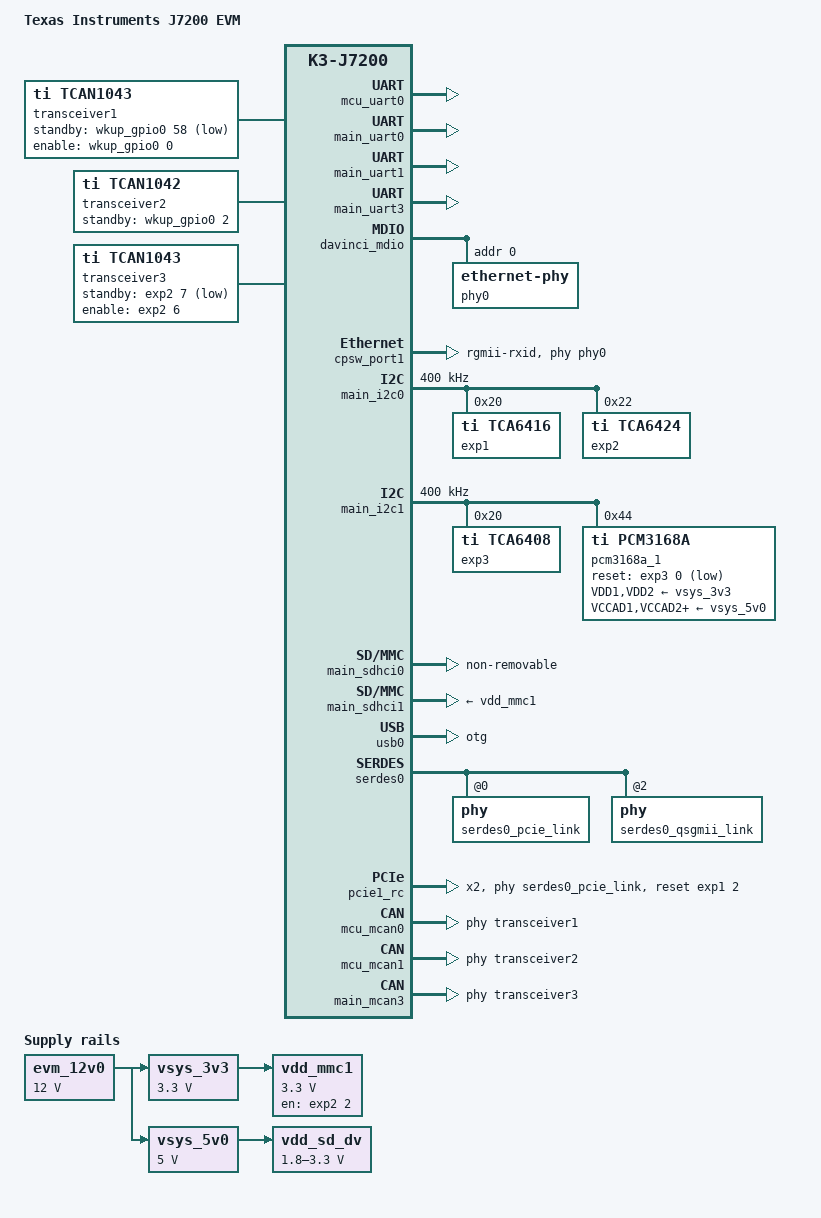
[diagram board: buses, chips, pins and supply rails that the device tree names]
// SPDX-License-Identifier: GPL-2.0-only OR MIT
/*
 * Copyright (C) 2020-2024 Texas Instruments Incorporated - https://www.ti.com/
 */

/dts-v1/;

#include "k3-j7200-som-p0.dtsi"
#include <dt-bindings/gpio/gpio.h>
#include <dt-bindings/net/ti-dp83867.h>
#include <dt-bindings/phy/phy.h>

#include "k3-serdes.h"

/ {
	compatible = "ti,j7200-evm", "ti,j7200";
	model = "Texas Instruments J7200 EVM";

	aliases {
		serial0 = &wkup_uart0;
		serial1 = &mcu_uart0;
		serial2 = &main_uart0;
		serial3 = &main_uart1;
		serial5 = &main_uart3;
		mmc0 = &main_sdhci0;
		mmc1 = &main_sdhci1;
	};

	chosen {
		stdout-path = "serial2:115200n8";
	};

	evm_12v0: fixedregulator-evm12v0 {
		/* main supply */
		compatible = "regulator-fixed";
		regulator-name = "evm_12v0";
		regulator-min-microvolt = <12000000>;
		regulator-max-microvolt = <12000000>;
		regulator-always-on;
		regulator-boot-on;
	};

	vsys_3v3: fixedregulator-vsys3v3 {
		/* Output of LM5140 */
		compatible = "regulator-fixed";
		regulator-name = "vsys_3v3";
		regulator-min-microvolt = <3300000>;
		regulator-max-microvolt = <3300000>;
		vin-supply = <&evm_12v0>;
		regulator-always-on;
		regulator-boot-on;
	};

	vsys_5v0: fixedregulator-vsys5v0 {
		/* Output of LM5140 */
		compatible = "regulator-fixed";
		regulator-name = "vsys_5v0";
		regulator-min-microvolt = <5000000>;
		regulator-max-microvolt = <5000000>;
		vin-supply = <&evm_12v0>;
		regulator-always-on;
		regulator-boot-on;
	};

	vdd_mmc1: fixedregulator-sd {
		/* Output of TPS22918 */
		compatible = "regulator-fixed";
		regulator-name = "vdd_mmc1";
		regulator-min-microvolt = <3300000>;
		regulator-max-microvolt = <3300000>;
		regulator-boot-on;
		enable-active-high;
		vin-supply = <&vsys_3v3>;
		gpio = <&exp2 2 GPIO_ACTIVE_HIGH>;
	};

	vdd_sd_dv: gpio-regulator-TLV71033 {
		/* Output of TLV71033 */
		compatible = "regulator-gpio";
		regulator-name = "tlv71033";
		pinctrl-names = "default";
		pinctrl-0 = <&vdd_sd_dv_pins_default>;
		regulator-min-microvolt = <1800000>;
		regulator-max-microvolt = <3300000>;
		regulator-boot-on;
		vin-supply = <&vsys_5v0>;
		gpios = <&main_gpio0 55 GPIO_ACTIVE_HIGH>;
		states = <1800000 0x0>,
			 <3300000 0x1>;
	};

	transceiver1: can-phy1 {
		compatible = "ti,tcan1043";
		#phy-cells = <0>;
		max-bitrate = <5000000>;
		pinctrl-names = "default";
		pinctrl-0 = <&mcu_mcan0_gpio_pins_default>;
		standby-gpios = <&wkup_gpio0 58 GPIO_ACTIVE_LOW>;
		enable-gpios = <&wkup_gpio0 0 GPIO_ACTIVE_HIGH>;
	};

	transceiver2: can-phy2 {
		compatible = "ti,tcan1042";
		#phy-cells = <0>;
		max-bitrate = <5000000>;
		pinctrl-names = "default";
		pinctrl-0 = <&mcu_mcan1_gpio_pins_default>;
		standby-gpios = <&wkup_gpio0 2 GPIO_ACTIVE_HIGH>;
	};

	transceiver3: can-phy3 {
		compatible = "ti,tcan1043";
		#phy-cells = <0>;
		max-bitrate = <5000000>;
		standby-gpios = <&exp2 7 GPIO_ACTIVE_LOW>;
		enable-gpios = <&exp2 6 GPIO_ACTIVE_HIGH>;
		mux-states = <&mux0 1>;
	};

	sound0: sound@0 {
		compatible = "ti,j7200-cpb-audio";
		model = "j7200-cpb";

		ti,cpb-mcasp = <&mcasp0>;
		ti,cpb-codec = <&pcm3168a_1>;

		clocks = <&k3_clks 174 40>, <&k3_clks 174 41>,
			 <&k3_clks 157 77>, <&k3_clks 157 106>;
		clock-names = "cpb-mcasp-auxclk", "cpb-mcasp-auxclk-48000",
			      "cpb-codec-scki", "cpb-codec-scki-48000";
	};
};

&wkup_pmx0 {
};

&wkup_pmx2 {
	mcu_uart0_pins_default: mcu-uart0-default-pins {
		pinctrl-single,pins = <
			J721E_WKUP_IOPAD(0x90, PIN_INPUT, 0) /* (E20) MCU_UART0_CTSn */
			J721E_WKUP_IOPAD(0x94, PIN_OUTPUT, 0) /* (E21) MCU_UART0_RTSn */
			J721E_WKUP_IOPAD(0x8c, PIN_INPUT, 0) /* (D20) MCU_UART0_RXD */
			J721E_WKUP_IOPAD(0x88, PIN_OUTPUT, 0) /* (D19) MCU_UART0_TXD */
		>;
	};

	wkup_uart0_pins_default: wkup-uart0-default-pins {
		pinctrl-single,pins = <
			J721E_WKUP_IOPAD(0x48, PIN_INPUT, 0) /* (B14) WKUP_UART0_RXD */
			J721E_WKUP_IOPAD(0x4c, PIN_OUTPUT, 0) /* (A14) WKUP_UART0_TXD */
		>;
	};

	mcu_cpsw_pins_default: mcu-cpsw-default-pins {
		pinctrl-single,pins = <
			J721E_WKUP_IOPAD(0x0000, PIN_OUTPUT, 0) /* MCU_RGMII1_TX_CTL */
			J721E_WKUP_IOPAD(0x0004, PIN_INPUT, 0) /* MCU_RGMII1_RX_CTL */
			J721E_WKUP_IOPAD(0x0008, PIN_OUTPUT, 0) /* MCU_RGMII1_TD3 */
			J721E_WKUP_IOPAD(0x000c, PIN_OUTPUT, 0) /* MCU_RGMII1_TD2 */
			J721E_WKUP_IOPAD(0x0010, PIN_OUTPUT, 0) /* MCU_RGMII1_TD1 */
			J721E_WKUP_IOPAD(0x0014, PIN_OUTPUT, 0) /* MCU_RGMII1_TD0 */
			J721E_WKUP_IOPAD(0x0020, PIN_INPUT, 0) /* MCU_RGMII1_RD3 */
			J721E_WKUP_IOPAD(0x0024, PIN_INPUT, 0) /* MCU_RGMII1_RD2 */
			J721E_WKUP_IOPAD(0x0028, PIN_INPUT, 0) /* MCU_RGMII1_RD1 */
			J721E_WKUP_IOPAD(0x002c, PIN_INPUT, 0) /* MCU_RGMII1_RD0 */
			J721E_WKUP_IOPAD(0x0018, PIN_OUTPUT, 0) /* MCU_RGMII1_TXC */
			J721E_WKUP_IOPAD(0x001c, PIN_INPUT, 0) /* MCU_RGMII1_RXC */
		>;
	};

	wkup_gpio_pins_default: wkup-gpio-default-pins {
		pinctrl-single,pins = <
			J721E_WKUP_IOPAD(0x70, PIN_INPUT, 7) /* (C14) WKUP_GPIO0_6 */
		>;
	};

	mcu_mdio_pins_default: mcu-mdio1-default-pins {
		pinctrl-single,pins = <
			J721E_WKUP_IOPAD(0x0034, PIN_OUTPUT, 0) /* (L1) MCU_MDIO0_MDC */
			J721E_WKUP_IOPAD(0x0030, PIN_INPUT, 0) /* (L4) MCU_MDIO0_MDIO */
		>;
	};

	mcu_mcan0_pins_default: mcu-mcan0-default-pins {
		pinctrl-single,pins = <
			J721E_WKUP_IOPAD(0x54, PIN_INPUT, 0) /* (A17) MCU_MCAN0_RX */
			J721E_WKUP_IOPAD(0x50, PIN_OUTPUT, 0) /* (A16) MCU_MCAN0_TX */
		>;
	};

	mcu_mcan1_pins_default: mcu-mcan1-default-pins {
		pinctrl-single,pins = <
			J721E_WKUP_IOPAD(0x6c, PIN_INPUT, 0) /* (B16) WKUP_GPIO0_5.MCU_MCAN1_RX */
			J721E_WKUP_IOPAD(0x68, PIN_OUTPUT, 0) /* (D13) WKUP_GPIO0_4.MCU_MCAN1_TX */
		>;
	};

	mcu_mcan0_gpio_pins_default: mcu-mcan0-gpio-default-pins {
		pinctrl-single,pins = <
			J721E_WKUP_IOPAD(0x58, PIN_INPUT, 7) /* (B18) WKUP_GPIO0_0 */
			J721E_WKUP_IOPAD(0x40, PIN_INPUT, 7) /* (B17) MCU_SPI0_D1 */
		>;
	};

	mcu_mcan1_gpio_pins_default: mcu-mcan1-gpio-default-pins {
		pinctrl-single,pins = <
			J721E_WKUP_IOPAD(0x60, PIN_INPUT, 7) /* (D14) WKUP_GPIO0_2 */
		>;
	};
};

&main_pmx0 {
	main_uart0_pins_default: main-uart0-default-pins {
		pinctrl-single,pins = <
			J721E_IOPAD(0xb0, PIN_INPUT, 0) /* (T16) UART0_RXD */
			J721E_IOPAD(0xb4, PIN_OUTPUT, 0) /* (T17) UART0_TXD */
			J721E_IOPAD(0xc0, PIN_INPUT, 2) /* (W3) SPI0_CS0.UART0_CTSn */
			J721E_IOPAD(0xc4, PIN_OUTPUT, 2) /* (U5) SPI0_CS1.UART0_RTSn */
		>;
	};

	main_uart1_pins_default: main-uart1-default-pins {
		pinctrl-single,pins = <
			J721E_IOPAD(0xb8, PIN_INPUT, 0) /* (T18) UART1_RXD */
			J721E_IOPAD(0xbc, PIN_INPUT, 0) /* (T20) UART1_TXD */
		>;
	};

	main_uart3_pins_default: main-uart3-default-pins {
		pinctrl-single,pins = <
			J721E_IOPAD(0x60, PIN_INPUT, 11) /* (T15) MCAN8_TX.UART3_CTSn */
			J721E_IOPAD(0x30, PIN_INPUT, 11) /* (Y18) MCAN2_TX.UART3_RXD */
		>;
	};

	main_i2c1_pins_default: main-i2c1-default-pins {
		pinctrl-single,pins = <
			J721E_IOPAD(0xdc, PIN_INPUT_PULLUP, 3) /* (U3) ECAP0_IN_APWM_OUT.I2C1_SCL */
			J721E_IOPAD(0xe0, PIN_INPUT_PULLUP, 3) /* (T3) EXT_REFCLK1.I2C1_SDA */
		>;
	};

	main_mmc1_pins_default: main-mmc1-default-pins {
		pinctrl-single,pins = <
			J721E_IOPAD(0x104, PIN_INPUT, 0) /* (M20) MMC1_CMD */
			J721E_IOPAD(0x100, PIN_INPUT, 0) /* (P21) MMC1_CLK */
			J721E_IOPAD(0xfc, PIN_INPUT, 0) /* (P25) MMC1_CLKLB */
			J721E_IOPAD(0xf8, PIN_INPUT, 0) /* (M19) MMC1_DAT0 */
			J721E_IOPAD(0xf4, PIN_INPUT, 0) /* (N21) MMC1_DAT1 */
			J721E_IOPAD(0xf0, PIN_INPUT, 0) /* (N20) MMC1_DAT2 */
			J721E_IOPAD(0xec, PIN_INPUT, 0) /* (N19) MMC1_DAT3 */
			J721E_IOPAD(0xe4, PIN_INPUT, 8) /* (V1) TIMER_IO0.MMC1_SDCD */
		>;
	};

	vdd_sd_dv_pins_default: vdd-sd-dv-default-pins {
		pinctrl-single,pins = <
			J721E_IOPAD(0xd0, PIN_OUTPUT, 7) /* (T5) SPI0_D1.GPIO0_55 */
		>;
	};

	main_mcan3_pins_default: main-mcan3-default-pins {
		pinctrl-single,pins = <
			J721E_IOPAD(0x3c, PIN_INPUT, 0) /* (W16) MCAN3_RX */
			J721E_IOPAD(0x38, PIN_OUTPUT, 0) /* (Y21) MCAN3_TX */
		>;
	};

	mcasp0_pins_default: mcasp10-pins-default {
		pinctrl-single,pins = <
			J721E_IOPAD(0x40, PIN_OUTPUT_PULLDOWN, 12) /* (W15) MCAN4_TX.MCASP0_ACLKX */
			J721E_IOPAD(0x14, PIN_OUTPUT_PULLDOWN, 12) /* (Y16) RMII1_TXD0.MCASP0_AFSX */
			J721E_IOPAD(0x3c, PIN_OUTPUT_PULLDOWN, 12) /* (W16) MCAN3_RX.MCASP0_AXR0 */
			J721E_IOPAD(0x38, PIN_OUTPUT_PULLDOWN, 12) /* (Y21) MCAN3_TX.MCASP0_AXR1 */
			J721E_IOPAD(0x44, PIN_OUTPUT_PULLDOWN, 12) /* (Y20) MCAN4_RX.MCASP0_AXR2 */
			J721E_IOPAD(0x1c, PIN_OUTPUT_PULLDOWN, 12) /* (AA19) RMII1_TXD1.MCASP0_AXR3 */
			J721E_IOPAD(0x64, PIN_INPUT_PULLDOWN, 12) /* (U19) MCAN8_RX.MCASP0_AXR4 */
			J721E_IOPAD(0x60, PIN_INPUT_PULLDOWN, 12) /* (T15) MCAN8_TX.MCASP0_AXR5 */
			J721E_IOPAD(0x74, PIN_INPUT_PULLDOWN, 12) /* (U20) MCAN10_RX.MCASP0_AXR6 */
		>;
	};

	audio_ext_refclk1_pins_default: audi-ext-refclk2-pins-default {
		pinctrl-single,pins = <
			J721E_IOPAD(0x168, PIN_OUTPUT, 14) /* (U21) MCAN16_RX.AUDIO_EXT_REFCLK1 */
		>;
	};
};

&main_pmx1 {
	main_usbss0_pins_default: main-usbss0-default-pins {
		pinctrl-single,pins = <
			J721E_IOPAD(0x04, PIN_OUTPUT, 0) /* (T4) USB0_DRVVBUS */
		>;
	};
};

&wkup_uart0 {
	/* Wakeup UART is used by System firmware */
	status = "reserved";
	pinctrl-names = "default";
	pinctrl-0 = <&wkup_uart0_pins_default>;
};

&mcu_uart0 {
	status = "okay";
	pinctrl-names = "default";
	pinctrl-0 = <&mcu_uart0_pins_default>;
};

&main_uart0 {
	status = "okay";
	/* Shared with ATF on this platform */
	power-domains = <&k3_pds 146 TI_SCI_PD_SHARED>;
	pinctrl-names = "default";
	pinctrl-0 = <&main_uart0_pins_default>;
};

&main_uart1 {
	status = "okay";
	/* Default pinmux */
	pinctrl-names = "default";
	pinctrl-0 = <&main_uart1_pins_default>;
};

&main_uart2 {
	/* MAIN UART 2 is used by R5F firmware */
	status = "reserved";
};

&main_uart3 {
	/* Shared with MCAN Interface */
	status = "okay";
	pinctrl-names = "default";
	pinctrl-0 = <&main_uart3_pins_default>;
};

&main_gpio0 {
	status = "okay";
};

&wkup_gpio0 {
	status = "okay";
	pinctrl-names = "default";
	pinctrl-0 = <&wkup_gpio_pins_default>;
};

&mcu_cpsw {
	pinctrl-names = "default";
	pinctrl-0 = <&mcu_cpsw_pins_default>, <&mcu_mdio_pins_default>;
};

&davinci_mdio {
	phy0: ethernet-phy@0 {
		reg = <0>;
		ti,rx-internal-delay = <DP83867_RGMIIDCTL_2_00_NS>;
		ti,fifo-depth = <DP83867_PHYCR_FIFO_DEPTH_4_B_NIB>;
	};
};

&cpsw_port1 {
	phy-mode = "rgmii-rxid";
	phy-handle = <&phy0>;
};

&main_i2c0 {
	status = "okay";
	pinctrl-names = "default";
	pinctrl-0 = <&main_i2c0_pins_default>;
	clock-frequency = <400000>;

	exp1: gpio@20 {
		compatible = "ti,tca6416";
		reg = <0x20>;
		gpio-controller;
		#gpio-cells = <2>;
	};

	exp2: gpio@22 {
		compatible = "ti,tca6424";
		reg = <0x22>;
		gpio-controller;
		#gpio-cells = <2>;

		p09-hog {
			/* P11 - MCASP/TRACE_MUX_S0 */
			gpio-hog;
			gpios = <9 GPIO_ACTIVE_HIGH>;
			output-low;
			line-name = "MCASP/TRACE_MUX_S0";
		};

		p10-hog {
			/* P12 - MCASP/TRACE_MUX_S1 */
			gpio-hog;
			gpios = <10 GPIO_ACTIVE_HIGH>;
			output-high;
			line-name = "MCASP/TRACE_MUX_S1";
		};
	};
};

/*
 * The j7200 CPB board is identical to the CPB used for J721E, the SOMs can be
 * swapped on the CPB.
 *
 * main_i2c1 of J7200 is connected to the CPB i2c bus labeled as i2c3.
 * The i2c1 of the CPB (as it is labeled) is not connected to j7200.
 */
&main_i2c1 {
	status = "okay";
	pinctrl-names = "default";
	pinctrl-0 = <&main_i2c1_pins_default>;
	clock-frequency = <400000>;

	exp3: gpio@20 {
		compatible = "ti,tca6408";
		reg = <0x20>;
		gpio-controller;
		#gpio-cells = <2>;
		gpio-line-names = "CODEC_RSTz", "CODEC_SPARE1", "UB926_RESETn",
				  "UB926_LOCK", "UB926_PWR_SW_CNTRL",
				  "UB926_TUNER_RESET", "UB926_GPIO_SPARE", "";
	};

	pcm3168a_1: audio-codec@44 {
		compatible = "ti,pcm3168a";
		reg = <0x44>;

		#sound-dai-cells = <1>;

		reset-gpios = <&exp3 0 GPIO_ACTIVE_LOW>;

		/* C_AUDIO_REFCLK2 -> RGMII6_RXC (W26) */
		clocks = <&k3_clks 157 77>;
		clock-names = "scki";

		/* HSDIV2_16FFT_MAIN_4_HSDIVOUT2_CLK -> REFCLK1 */
		assigned-clocks = <&k3_clks 157 77>;
		assigned-clock-parents = <&k3_clks 157 106>;
		assigned-clock-rates = <24576000>; /* for 48KHz */

		VDD1-supply = <&vsys_3v3>;
		VDD2-supply = <&vsys_3v3>;
		VCCAD1-supply = <&vsys_5v0>;
		VCCAD2-supply = <&vsys_5v0>;
		VCCDA1-supply = <&vsys_5v0>;
		VCCDA2-supply = <&vsys_5v0>;
	};
};

&k3_clks {
	/* Confiure AUDIO_EXT_REFCLK1 pin as output */
	pinctrl-names = "default";
	pinctrl-0 = <&audio_ext_refclk1_pins_default>;
};

&main_sdhci0 {
	/* eMMC */
	status = "okay";
	non-removable;
	ti,driver-strength-ohm = <50>;
	disable-wp;
};

&main_sdhci1 {
	/* SD card */
	status = "okay";
	pinctrl-0 = <&main_mmc1_pins_default>;
	pinctrl-names = "default";
	vmmc-supply = <&vdd_mmc1>;
	vqmmc-supply = <&vdd_sd_dv>;
	ti,driver-strength-ohm = <50>;
	disable-wp;
};

&serdes_ln_ctrl {
	idle-states = <J7200_SERDES0_LANE0_PCIE1_LANE0>, <J7200_SERDES0_LANE1_PCIE1_LANE1>,
		      <J7200_SERDES0_LANE2_QSGMII_LANE1>, <J7200_SERDES0_LANE3_IP4_UNUSED>;
};

&usb_serdes_mux {
	idle-states = <1>; /* USB0 to SERDES lane 3 */
};

&usbss0 {
	pinctrl-names = "default";
	pinctrl-0 = <&main_usbss0_pins_default>;
	ti,vbus-divider;
	ti,usb2-only;
};

&usb0 {
	dr_mode = "otg";
	maximum-speed = "high-speed";
};

&tscadc0 {
	adc {
		ti,adc-channels = <0 1 2 3 4 5 6 7>;
	};
};

&serdes_refclk {
	clock-frequency = <100000000>;
};

&serdes0 {
	serdes0_pcie_link: phy@0 {
		reg = <0>;
		cdns,num-lanes = <2>;
		#phy-cells = <0>;
		cdns,phy-type = <PHY_TYPE_PCIE>;
		resets = <&serdes_wiz0 1>, <&serdes_wiz0 2>;
	};

	serdes0_qsgmii_link: phy@1 {
		reg = <2>;
		cdns,num-lanes = <1>;
		#phy-cells = <0>;
		cdns,phy-type = <PHY_TYPE_QSGMII>;
		resets = <&serdes_wiz0 3>;
	};
};

&pcie1_rc {
	status = "okay";
	reset-gpios = <&exp1 2 GPIO_ACTIVE_HIGH>;
	phys = <&serdes0_pcie_link>;
	phy-names = "pcie-phy";
	num-lanes = <2>;
};

&mcu_mcan0 {
	status = "okay";
	pinctrl-names = "default";
	pinctrl-0 = <&mcu_mcan0_pins_default>;
	phys = <&transceiver1>;
};

&mcu_mcan1 {
	status = "okay";
	pinctrl-names = "default";
	pinctrl-0 = <&mcu_mcan1_pins_default>;
	phys = <&transceiver2>;
};

&main_mcan3 {
	status = "okay";
	pinctrl-names = "default";
	pinctrl-0 = <&main_mcan3_pins_default>;
	phys = <&transceiver3>;
};

&mcasp0 {
	#sound-dai-cells = <0>;

	pinctrl-names = "default";
	pinctrl-0 = <&mcasp0_pins_default>;

	op-mode = <0>;          /* MCASP_IIS_MODE */
	tdm-slots = <2>;
	auxclk-fs-ratio = <256>;

	serial-dir = <	/* 0: INACTIVE, 1: TX, 2: RX */
		1 1 1 1
		2 2 2 0
	>;
	tx-num-evt = <0>;
	rx-num-evt = <0>;
};

&mcasp1 {
	status = "disabled";
};

&mcasp2 {
	status = "disabled";
};
